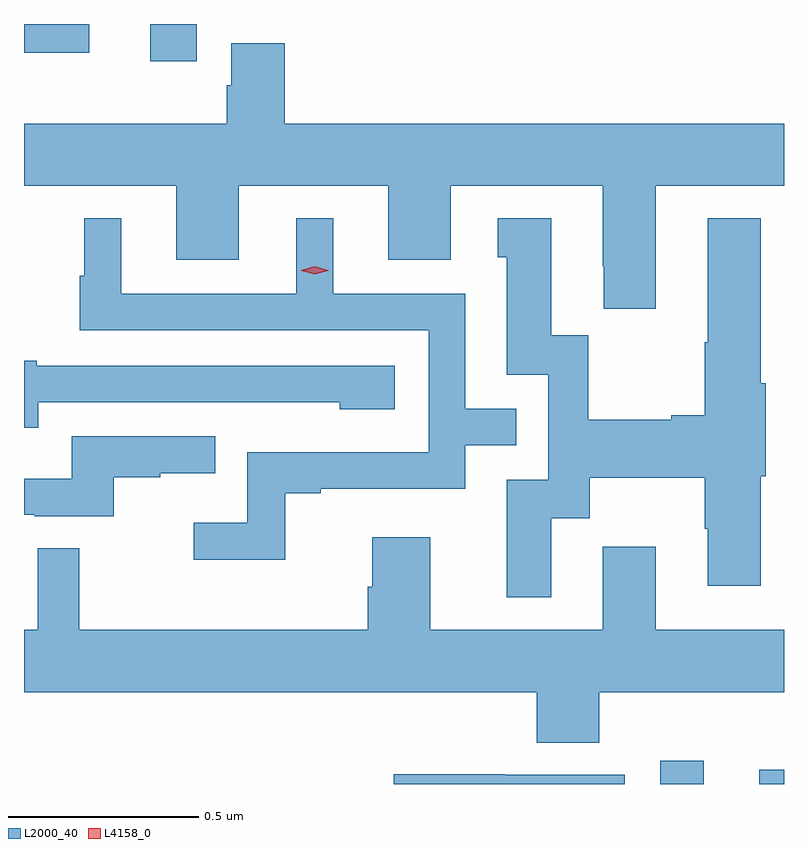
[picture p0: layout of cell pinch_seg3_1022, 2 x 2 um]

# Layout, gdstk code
import gdstk
lib = gdstk.Library(unit=1e-6, precision=1e-09)
def R(c, l, rs):  # rectangles x0, y0, x1, y1
    for r in rs: c.add(gdstk.rectangle(r[:2], r[2:], *l))
def P(c, l, *ps):  # polygons
    for p in ps: c.add(gdstk.Polygon(p, *l))
L2000_40 = (2000, 40)
L4158_0 = (4158, 0)

pinch_seg3_1022 = lib.new_cell('pinch_seg3_1022')
R(pinch_seg3_1022, L2000_40, [(416.01,667.374,416.125,667.435), (416.271,667.374,416.336,667.412), (414.668,669.276,414.79,669.374), (414.336,669.299,414.508,669.374)])
P(pinch_seg3_1022, L2000_40, [(415.999,668.948),(416.336,668.948),(416.336,669.112),(415.022,669.112),(415.022,669.324),(414.881,669.324),(414.881,669.213),(414.869,669.213),(414.869,669.112),(414.336,669.112),(414.336,668.948),(414.737,668.948),(414.737,668.754),(414.901,668.754),(414.901,668.948),(415.295,668.948),(415.295,668.754),(415.459,668.754),(415.459,668.948),(415.859,668.948),(415.859,668.737),(415.862,668.737),(415.862,668.625),(415.999,668.625)],
  [(415.723,668.074),(415.825,668.074),(415.825,668.18),(416.128,668.18),(416.128,668.046),(416.135,668.046),(416.135,667.896),(416.275,667.896),(416.275,668.184),(416.288,668.184),(416.288,668.428),(416.275,668.428),(416.275,668.863),(416.135,668.863),(416.135,668.537),(416.128,668.537),(416.128,668.345),(416.039,668.345),(416.039,668.332),(415.821,668.332),(415.821,668.555),(415.723,668.555),(415.723,668.863),(415.583,668.863),(415.583,668.76),(415.607,668.76),(415.607,668.451),(415.716,668.451),(415.716,668.175),(415.607,668.175),(415.607,667.866),(415.723,667.866)],
  [(415.023,668.139),(415.117,668.139),(415.117,668.151),(415.497,668.151),(415.497,668.265),(415.631,668.265),(415.631,668.361),(415.497,668.361),(415.497,668.664),(415.15,668.664),(415.15,668.863),(415.052,668.863),(415.052,668.664),(414.592,668.664),(414.592,668.863),(414.494,668.863),(414.494,668.712),(414.483,668.712),(414.483,668.568),(415.401,668.568),(415.401,668.247),(414.924,668.247),(414.924,668.062),(414.783,668.062),(414.783,667.964),(415.023,667.964)],
  [(414.373,668.379),(414.931,668.379),(414.931,668.378),(415.167,668.378),(415.167,668.36),(415.312,668.36),(415.312,668.475),(414.369,668.475),(414.369,668.488),(414.336,668.488),(414.336,668.312),(414.373,668.312)],
  [(414.572,668.181),(414.695,668.181),(414.695,668.192),(414.839,668.192),(414.839,668.289),(414.462,668.289),(414.462,668.177),(414.336,668.177),(414.336,668.082),(414.364,668.082),(414.364,668.079),(414.572,668.079)],
  [(415.85,667.616),(416.336,667.616),(416.336,667.78),(415.999,667.78),(415.999,667.999),(415.859,667.999),(415.859,667.78),(415.405,667.78),(415.405,668.023),(415.253,668.023),(415.253,667.893),(415.241,667.893),(415.241,667.78),(414.481,667.78),(414.481,667.994),(414.372,667.994),(414.372,667.78),(414.336,667.78),(414.336,667.616),(415.685,667.616),(415.685,667.483),(415.85,667.483)],
  [(415.917,667.398),(415.601,667.398),(415.601,667.4),(415.309,667.4),(415.309,667.374),(415.917,667.374)])
P(pinch_seg3_1022, L4158_0, [(415.101,668.716),(415.066,668.725),(415.065,668.726),(415.066,668.726),(415.101,668.736),(415.137,668.726),(415.137,668.726),(415.137,668.725)])

lib.write_gds('pinch_seg3_1022.gds')
